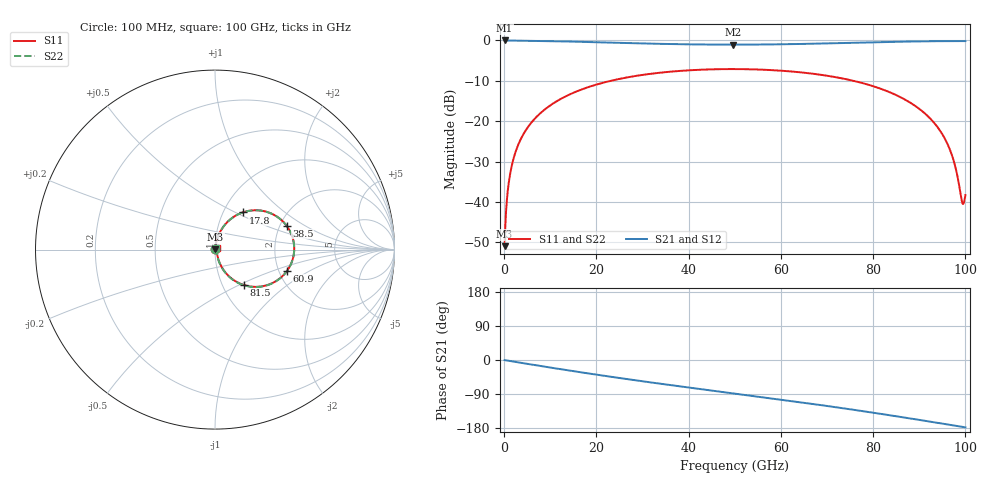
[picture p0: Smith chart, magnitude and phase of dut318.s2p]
! Touchstone file exported from HFSS 2026.1.0
!  File:  C:/ffzhzh/LocalFiles/Ansys_Project_Files/temp_train_RDL_318_1783502648_44152.aedt
!  Generated:  05:25:37 PM Jul  8, 2026
!  Design:  RDL
!  Project:  temp_train_RDL_318_1783502648_44152
! Variables:
!  h_bsmrdl = 2um
!  h_ox = 20um
!  h_rdl = 5um
!  h_sub = 80um
!  h_tmrdl = 4.33um
!  h_tsv = 80um
!  h_via = 3um
!  l_bsmrdl = 300um
!  l_sub = 998.6um
!  l_tmrdl = 598.6um
!  m_sub = 200um
!  pitch = 47.41um
!  r_tsv = 6um
!  s_tmrdl = 10um
!  w_bsmrdl = 18um
!  w_sub = 500um
!  w_tmrdl = 26.62um
!  x_tsv_center1 = 611.91um
!  x_tsv_center2 = 929.91um
!  x_tsv_center3 = 1555.13um
!  x_tsv_center4 = 1873.13um
!  x_tsv_center5 = 2498.35um
!  x_tsv_center6 = 2816.35um
# GHz S MA R 50.000000
! Terminal data exported
! Port[1] = TM_RDL1_1_T1
! Port[2] = TM_RDL1_1_T2
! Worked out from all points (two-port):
!   1000 points, 100 MHz to 100 GHz, reference 50 ohm
!   highest |S21| = -0.02 dB at 100 MHz (marker M1); lowest = -1.1 dB at 49.6 GHz (marker M2)
!   |S21| within 3 dB of the highest: start of sweep to end of sweep
!   lowest |S11| = -51.0 dB at 100 MHz (marker M3), VSWR 1.01, Z = 50.2 + j0.194 ohm
!   |S11| at or under -10 dB: start of sweep to 23.16 GHz; 75.67 GHz to end of sweep
!   |S22| runs from -51.0 to -7.1 dB; largest |S21 - S12| = 1.7e-14
!   S11 on the Smith chart (normalised r, x): 100 MHz: 1.00, +0.00; 17.8 GHz: 1.23, +0.55; 38.5 GHz: 2.17, +0.71; 60.9 GHz: 2.21, -0.64; 81.5 GHz: 1.26, -0.53; 100 GHz: 1.02, +0.02
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0.1  0.002831 43.0  0.9979 -0.2  0.9979 -0.2  0.002831 43.0
! Gamma 0 0 0 0
! Port Impedance 50 0 50 0
0.9  0.01562 78.0  0.9971 -1.9  0.9971 -1.9  0.01562 78.0
1.5  0.02553 80.2  0.9967 -3.1  0.9967 -3.1  0.02553 80.2
2.5  0.042 80.1  0.9956 -5.1  0.9956 -5.1  0.042 80.1
4  0.06623 78.0  0.9933 -8.1  0.9933 -8.1  0.06623 78.0
8.9  0.1409 69.3  0.9828 -17.8  0.9828 -17.8  0.1409 69.3
16.8  0.2467 55.1  0.9596 -32.8  0.9596 -32.8  0.2467 55.0
17.8  0.2586 53.3  0.9562 -34.6  0.9562 -34.6  0.2586 53.2
33.4  0.3957 26.8  0.9071 -61.8  0.9071 -61.8  0.3957 26.7
38.5  0.4203 18.6  0.8959 -70.2  0.8959 -70.2  0.4204 18.5
49.6  0.4415 1.2  0.8856 -87.9  0.8856 -87.9  0.4415 1.1
50.1  0.4414 0.4  0.8856 -88.7  0.8856 -88.7  0.4414 0.3
60.9  0.418 -16.6  0.8961 -106.1  0.8961 -106.1  0.4181 -16.7
66.7  0.3879 -25.9  0.9087 -115.7  0.9087 -115.7  0.388 -26.1
81.5  0.2535 -51.0  0.9517 -141.9  0.9517 -141.9  0.2535 -51.3
83.4  0.2304 -54.3  0.957 -145.4  0.957 -145.4  0.2304 -54.6
89.8  0.1449 -65.0  0.9718 -157.7  0.9718 -157.7  0.1448 -65.5
94.3  0.07928 -70.6  0.9782 -166.5  0.9782 -166.5  0.07919 -71.5
97.2  0.03618 -68.0  0.98 -172.2  0.98 -172.2  0.03593 -69.9
98  0.02464 -62.2  0.9802 -173.8  0.9802 -173.8  0.02425 -64.8
99.3  0.009883 -14.8  0.9802 -176.4  0.9802 -176.4  0.008818 -17.3
100  0.01214 40.5  0.98 -177.7  0.98 -177.7  0.01127 43.9
